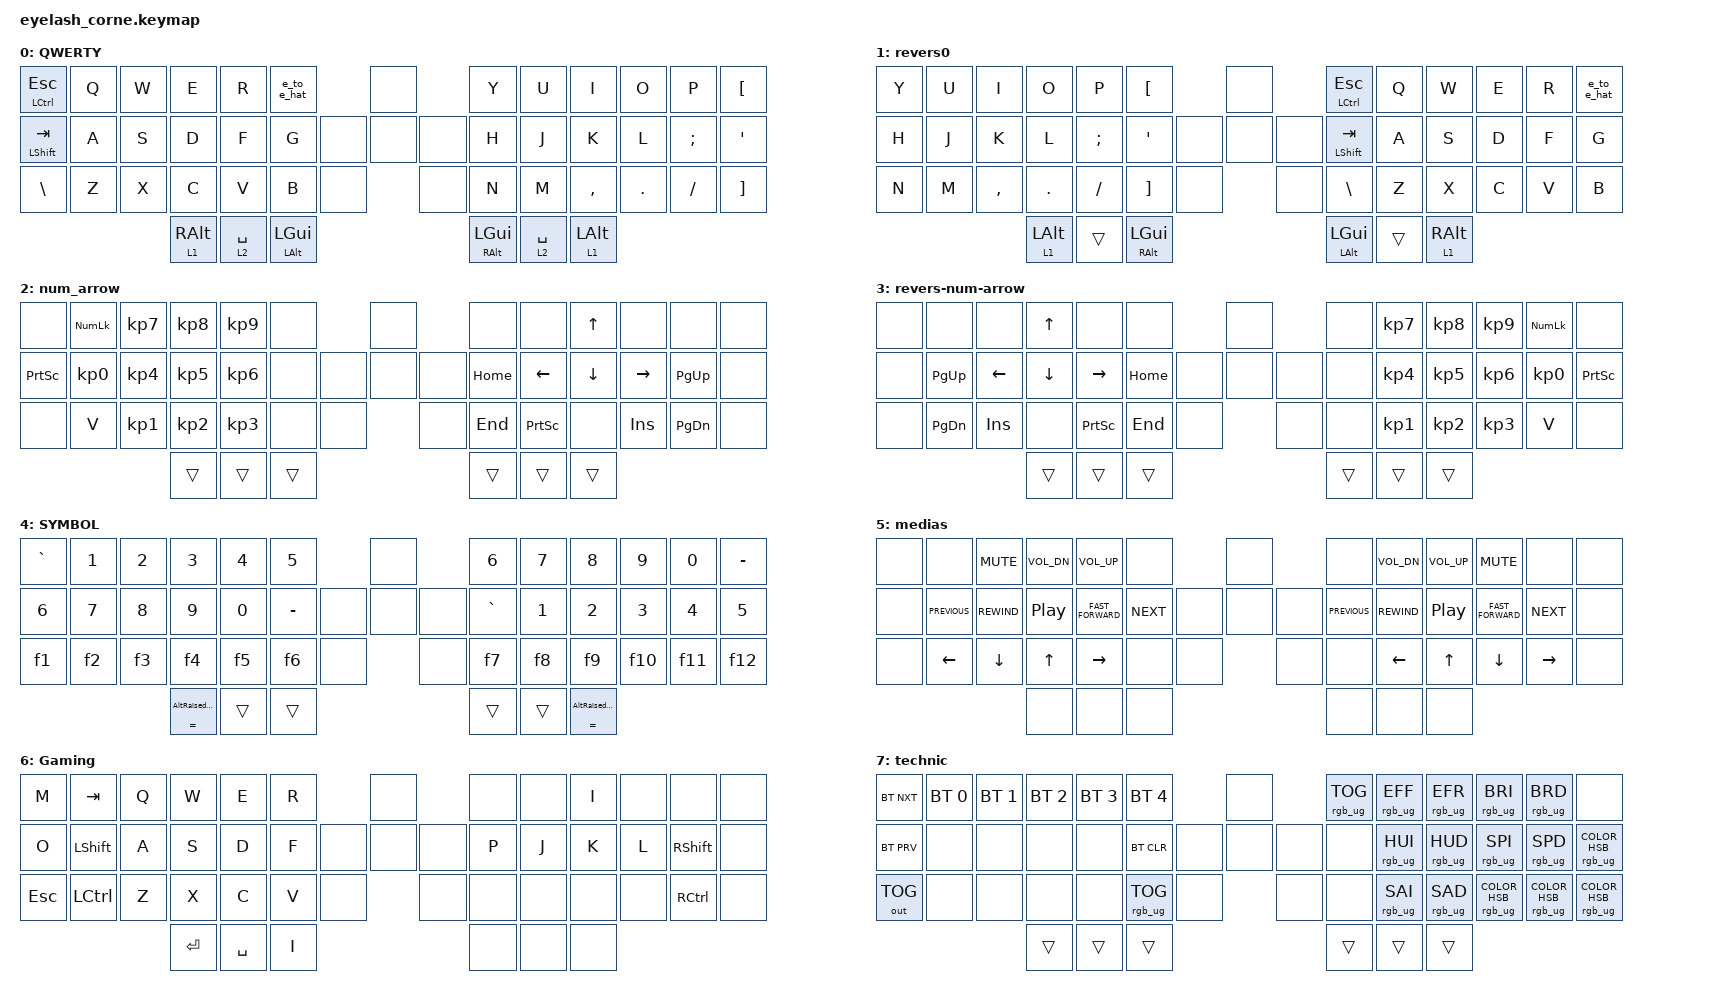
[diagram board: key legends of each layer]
#define ZMK_POINTING_DEFAULT_MOVE_VAL 1200  // 600
#define ZMK_POINTING_DEFAULT_SCRL_VAL 25   // 10

#include <input/processors.dtsi>
#include <zephyr/dt-bindings/input/input-event-codes.h>
#include <behaviors.dtsi>
#include <dt-bindings/zmk/bt.h>
#include <dt-bindings/zmk/keys.h>
#include <dt-bindings/zmk/outputs.h>
#include <dt-bindings/zmk/pointing.h>
#include <dt-bindings/zmk/rgb.h>

&mmv_input_listener { input-processors = <&zip_xy_scaler 2 1>; };

&msc_input_listener { input-processors = <&zip_scroll_scaler 2 1>; };

&msc {
    acceleration-exponent = <1>;      // 0
    time-to-max-speed-ms = <100>;       // 300
    delay-ms = <0>;                   // 0
};

&mmv {
    time-to-max-speed-ms = <500>;
    acceleration-exponent = <1>;
    trigger-period-ms = <16>;
};

&soft_off { hold-time-ms = <2000>; };

/ {
    behaviors {
        td0: td0 {
            compatible = "zmk,behavior-tap-dance";
            display-name = "Shift/Caps Lock Tap Dance";
            #binding-cells = <0>;
            bindings = <&kp LEFT_SHIFT>, <&kp CAPS>;

            tapping-term-ms = <400>;
        };

        ht0: ht0 {
            compatible = "zmk,behavior-hold-tap";
            label = "HT0";
            bindings = <&kp>, <&kp>;

            #binding-cells = <2>;
            flavor = "tap-preferred";
            tapping-term-ms = <5>;
        };

        AltRaisedLayer: AltRaisedLayer {
            compatible = "zmk,behavior-tap-dance";
            label = "ALTRAISEDLAYER";
            #binding-cells = <0>;
            bindings = <&sk RIGHT_ALT>, <&sk LEFT_ALT>;

            tapping-term-ms = <400>;
        };

        f4: f4 {
            compatible = "zmk,behavior-tap-dance";
            label = "F4";
            #binding-cells = <0>;
            tapping-term-ms = <300>;
            bindings = <&kp F4>, <&kp F10>;
        };

        f5: f5 {
            compatible = "zmk,behavior-tap-dance";
            label = "F5";
            #binding-cells = <0>;
            tapping-term-ms = <300>;
            bindings = <&kp F5>, <&kp F11>;
        };

        f6: f6 {
            compatible = "zmk,behavior-tap-dance";
            label = "F6";
            #binding-cells = <0>;
            tapping-term-ms = <300>;
            bindings = <&kp F6>, <&kp F12>;
        };

        f1: f1 {
            compatible = "zmk,behavior-tap-dance";
            label = "F1";
            #binding-cells = <0>;
            tapping-term-ms = <300>;
            bindings = <&kp F1>, <&kp F7>;
        };

        f2: f2 {
            compatible = "zmk,behavior-tap-dance";
            label = "F2";
            #binding-cells = <0>;
            tapping-term-ms = <300>;
            bindings = <&kp F2>, <&kp F8>;
        };

        f3: f3 {
            compatible = "zmk,behavior-tap-dance";
            label = "F3";
            #binding-cells = <0>;
            tapping-term-ms = <300>;
            bindings = <&kp F3>, <&kp F9>;
        };

        f7: f7 {
            compatible = "zmk,behavior-tap-dance";
            label = "F7";
            #binding-cells = <0>;
            tapping-term-ms = <300>;
            bindings = <&kp F7>, <&kp F1>;
        };

        f8: f8 {
            compatible = "zmk,behavior-tap-dance";
            label = "F8";
            #binding-cells = <0>;
            tapping-term-ms = <300>;
            bindings = <&kp F8>, <&kp F2>;
        };

        f9: f9 {
            compatible = "zmk,behavior-tap-dance";
            label = "F9";
            #binding-cells = <0>;
            tapping-term-ms = <300>;
            bindings = <&kp F9>, <&kp F3>;
        };

        f10: f10 {
            compatible = "zmk,behavior-tap-dance";
            label = "F10";
            #binding-cells = <0>;
            tapping-term-ms = <300>;
            bindings = <&kp F10>, <&kp F4>;
        };

        f11: f11 {
            compatible = "zmk,behavior-tap-dance";
            label = "F11";
            #binding-cells = <0>;
            tapping-term-ms = <300>;
            bindings = <&kp F11>, <&kp F5>;
        };

        f12: f12 {
            compatible = "zmk,behavior-tap-dance";
            label = "F12";
            #binding-cells = <0>;
            tapping-term-ms = <300>;
            bindings = <&kp F12>, <&kp F6>;
        };

        altandrevers: altandrevers {
            compatible = "zmk,behavior-hold-tap";
            label = "ALTANDREVERS";
            bindings = <&mo>, <&AltRaisedLayer>;

            #binding-cells = <2>;
            tapping-term-ms = <500>;
        };

        altraisedinverted: altraisedinverted {
            compatible = "zmk,behavior-tap-dance";
            label = "ALTRAISEDINVERTED";
            #binding-cells = <0>;
            bindings = <&sk LEFT_ALT>, <&sk RIGHT_ALT>;

            tapping-term-ms = <400>;
        };

        e_to_e_hat: e_to_e_hat {
            compatible = "zmk,behavior-tap-dance";
            label = "E_TO_E_HAT";
            #binding-cells = <0>;
            bindings = <&kp T>, <&kp NON_US_BACKSLASH>;

            tapping-term-ms = <200>;
        };

        Navigation: Navigation {
            compatible = "zmk,behavior-tap-dance";
            label = "NAVIGATION";
            #binding-cells = <0>;
            bindings = <&kp LG(LA(SPACE))>, <&kp LA(SPACE)>;

            tapping-term-ms = <300>;
        };

        revers_nav: revers_nav {
            compatible = "zmk,behavior-hold-tap";
            label = "REVERS_NAV";
            bindings = <&mo>, <&Navigation>;

            #binding-cells = <2>;
            flavor = "balanced";
            tapping-term-ms = <300>;
        };

        navrac: navrac {
            compatible = "zmk,behavior-mod-morph";
            label = "NAVRAC";
            bindings = <&trans>, <&trans>;

            #binding-cells = <0>;
            mods = <(MOD_LALT|MOD_LGUI)>;
            keep-mods = <(MOD_LALT|MOD_LGUI)>;
        };

        alt_sticky_layer: alt_sticky_layer {
            compatible = "zmk,behavior-hold-tap";
            label = "ALT_STICKY_LAYER";
            bindings = <&mo>, <&sk>;

            #binding-cells = <2>;
            flavor = "balanced";
            retro-tap;
            tapping-term-ms = <160>;
        };

        gui_sticky: gui_sticky {
            compatible = "zmk,behavior-hold-tap";
            label = "GUI_STICKY";
            bindings = <&kp>, <&sk>;

            #binding-cells = <2>;
            flavor = "balanced";
            retro-tap;
            tapping-term-ms = <160>;
        };

        raised_thumb_alt: raised_thumb_alt {
            compatible = "zmk,behavior-hold-tap";
            label = "RAISED_THUMB_ALT";
            bindings = <&kp>, <&AltRaisedLayer>;

            #binding-cells = <2>;
            tapping-term-ms = <200>;
        };
    };

    rgb_encoder: rgb_encoder {
        compatible = "zmk,behavior-sensor-rotate";
        #sensor-binding-cells = <0>;
        bindings = <&rgb_ug RGB_BRI>, <&rgb_ug RGB_BRD>;
    };

    scroll_encoder: scroll_encoder {
        compatible = "zmk,behavior-sensor-rotate";
        #sensor-binding-cells = <0>;
        bindings = <&msc SCRL_DOWN>, <&msc SCRL_UP>;

        tap-ms = <100>;
    };

    combos {
        compatible = "zmk,combos";

        softoff {
            bindings = <&soft_off>;
            key-positions = <1 15 29>;
        };

        BSpace1 {
            bindings = <&kp BACKSPACE>;
            key-positions = <16 15>;
        };

        BSpace2 {
            bindings = <&kp BACKSPACE>;
            key-positions = <24 25>;
        };

        Shift1 {
            bindings = <&td0>;
            key-positions = <16 17>;
        };

        Shift2 {
            bindings = <&td0>;
            key-positions = <23 24>;
        };

        Delete1 {
            bindings = <&kp DELETE>;
            key-positions = <14 15>;
        };

        Delete2 {
            bindings = <&kp DELETE>;
            key-positions = <25 26>;
        };

        Enter1 {
            bindings = <&kp ENTER>;
            key-positions = <23 24 25 26>;
        };

        Enter2 {
            bindings = <&kp KP_ENTER>;
            key-positions = <15 16 17 14>;
        };

        technic_layer {
            bindings = <&tog 7>;
            key-positions = <33 5 0 28>;
        };

        Alt1 {
            bindings = <&AltRaisedLayer>;
            key-positions = <23 26>;
        };

        Alt2 {
            bindings = <&AltRaisedLayer>;
            key-positions = <14 17>;
        };

        Media {
            bindings = <&tog 5>;
            key-positions = <5 44>;
        };

        technic2 {
            bindings = <&tog 7>;
            key-positions = <36 7 12 41>;
        };

        media2 {
            bindings = <&tog 5>;
            key-positions = <7 45>;
        };

        gaming {
            bindings = <&tog 6>;
            key-positions = <0 44>;
        };

        gaming2 {
            bindings = <&tog 6>;
            key-positions = <45 12>;
        };

        Layer_4_Left {
            bindings = <&mo 4>;
            key-positions = <43 44>;
        };

        Layer_4_Right {
            bindings = <&mo 4>;
            key-positions = <45 46>;
        };
    };

    macros {
        new_macro: new_macro {
            compatible = "zmk,behavior-macro";
            #binding-cells = <0>;
            bindings = <&none &kp LS(T) &kp Y &kp P &kp E &kp SPACE &kp S &kp O &kp M &kp E &kp T &kp H &kp I &kp N &kp G &kp DOT &kp DOT &kp DOT>;
            label = "NEW_MACRO";
        };
    };

    keymap {
        compatible = "zmk,keymap";

        default_layer {
            display-name = "QWERTY";
            bindings = <
&mt LEFT_CONTROL ESC  &kp Q  &kp W  &kp E                          &kp R        &e_to_e_hat                                    &none         &kp Y                           &kp U        &kp I                         &kp O    &kp P     &kp LBKT
&mt LEFT_SHIFT TAB    &kp A  &kp S  &kp D                          &kp F        &kp G                                   &none  &none  &none  &kp H                           &kp J        &kp K                         &kp L    &kp SEMI  &kp SQT
&kp BSLH              &kp Z  &kp X  &kp C                          &kp V        &kp B                          &none           &none         &kp N                           &kp M        &kp COMMA                     &kp DOT  &kp FSLH  &kp RIGHT_BRACKET
                                    &alt_sticky_layer 1 RIGHT_ALT  &lt 2 SPACE  &gui_sticky LEFT_ALT LEFT_GUI                                &gui_sticky RIGHT_ALT LEFT_GUI  &lt 2 SPACE  &alt_sticky_layer 1 LEFT_ALT
            >;
        };

        revers0 {
            bindings = <
&kp Y  &kp U  &kp I      &kp O                         &kp P     &kp LBKT                                   &none         &mt LCTRL ESC                  &kp Q   &kp W                          &kp E  &kp R  &e_to_e_hat
&kp H  &kp J  &kp K      &kp L                         &kp SEMI  &kp APOS                            &none  &none  &none  &mt LEFT_SHIFT TAB             &kp A   &kp S                          &kp D  &kp F  &kp G
&kp N  &kp M  &kp COMMA  &kp DOT                       &kp FSLH  &kp RBKT                   &none           &none         &kp BSLH                       &kp Z   &kp X                          &kp C  &kp V  &kp B
                         &alt_sticky_layer 1 LEFT_ALT  &trans    &gui_sticky RALT LEFT_GUI                                &gui_sticky LEFT_ALT LEFT_GUI  &trans  &alt_sticky_layer 1 RIGHT_ALT
            >;
        };

        num_arrow {
            bindings = <
&none            &kp KP_NUMLOCK   &kp KP_NUMBER_7  &kp KP_NUMBER_8  &kp KP_NUMBER_9  &none                   &none         &none     &none            &kp UP_ARROW    &none            &none          &none
&kp PRINTSCREEN  &kp KP_NUMBER_0  &kp KP_NUMBER_4  &kp KP_NUMBER_5  &kp KP_NUMBER_6  &none            &none  &none  &none  &kp HOME  &kp LEFT_ARROW   &kp DOWN_ARROW  &kp RIGHT_ARROW  &kp PAGE_UP    &none
&none            &kp V            &kp KP_NUMBER_1  &kp KP_NUMBER_2  &kp KP_NUMBER_3  &none   &none           &none         &kp END   &kp PRINTSCREEN  &none           &kp INSERT       &kp PAGE_DOWN  &none
                                                   &trans           &trans           &trans                                &trans    &trans           &trans
            >;
        };

        revers-num-arrow {
            bindings = <
&none  &none      &none     &kp UP    &none            &none                     &none         &none   &kp KP_NUMBER_7  &kp KP_NUMBER_8  &kp KP_NUMBER_9  &kp KP_NUMLOCK   &none
&none  &kp PG_UP  &kp LEFT  &kp DOWN  &kp RIGHT        &kp HOME           &none  &none  &none  &none   &kp KP_NUMBER_4  &kp KP_NUMBER_5  &kp KP_NUMBER_6  &kp KP_NUMBER_0  &kp PRINTSCREEN
&none  &kp PG_DN  &kp INS   &none     &kp PRINTSCREEN  &kp END   &none           &none         &none   &kp KP_NUMBER_1  &kp KP_NUMBER_2  &kp KP_NUMBER_3  &kp V            &none
                            &trans    &trans           &trans                                  &trans  &trans           &trans
            >;
        };

        raise_layer {
            display-name = "SYMBOL";
            bindings = <
&kp GRAVE  &kp N1  &kp N2  &kp N3                     &kp N4  &kp N5                     &none         &kp NUMBER_6  &kp N7  &kp N8                     &kp N9  &kp N0  &kp MINUS
&kp N6     &kp N7  &kp N8  &kp N9                     &kp N0  &kp MINUS           &none  &none  &none  &kp GRAVE     &kp N1  &kp N2                     &kp N3  &kp N4  &kp N5
&f1        &f2     &f3     &f4                        &f5     &f6        &none           &none         &f7           &f8     &f9                        &f10    &f11    &f12
                           &raised_thumb_alt EQUAL 0  &trans  &trans                                   &trans        &trans  &raised_thumb_alt EQUAL 0
            >;
        };

        medias {
            bindings = <
&none  &none           &kp C_MUTE    &kp C_VOL_DN      &kp C_VOL_UP        &none                       &none         &none           &kp C_VOL_DN  &kp C_VOL_UP      &kp C_MUTE          &none       &none
&none  &kp C_PREVIOUS  &kp C_REWIND  &kp C_PLAY_PAUSE  &kp C_FAST_FORWARD  &kp C_NEXT           &none  &none  &none  &kp C_PREVIOUS  &kp C_REWIND  &kp C_PLAY_PAUSE  &kp C_FAST_FORWARD  &kp C_NEXT  &none
&none  &kp LEFT        &kp DOWN      &kp UP            &kp RIGHT           &none       &none           &none         &none           &kp LEFT      &kp UP            &kp DOWN            &kp RIGHT   &none
                                     &none             &none               &none                                     &none           &none         &none
            >;
        };

        Gaming {
            bindings = <
&kp M       &kp TAB    &kp Q  &kp W      &kp E      &kp R                  &none         &none  &none  &kp I  &none  &none      &none
&kp O       &kp LSHFT  &kp A  &kp S      &kp D      &kp F           &none  &none  &none  &kp P  &kp J  &kp K  &kp L  &kp RSHFT  &none
&kp ESCAPE  &kp LCTRL  &kp Z  &kp X      &kp C      &kp V  &none           &none         &none  &none  &none  &none  &kp RCTRL  &none
                              &kp ENTER  &kp SPACE  &kp I                                &none  &none  &none
            >;
        };

        technic {
            bindings = <
&bt BT_NXT    &bt BT_SEL 0  &bt BT_SEL 1  &bt BT_SEL 2  &bt BT_SEL 3  &bt BT_SEL 4                     &none         &rgb_ug RGB_TOG  &rgb_ug RGB_EFF  &rgb_ug RGB_EFR  &rgb_ug RGB_BRI                 &rgb_ug RGB_BRD                    &none
&bt BT_PRV    &none         &none         &none         &none         &bt BT_CLR                &none  &none  &none  &none            &rgb_ug RGB_HUI  &rgb_ug RGB_HUD  &rgb_ug RGB_SPI                 &rgb_ug RGB_SPD                    &rgb_ug RGB_COLOR_HSB(182,100,50)
&out OUT_TOG  &none         &none         &none         &none         &rgb_ug RGB_TOG  &none           &none         &none            &rgb_ug RGB_SAI  &rgb_ug RGB_SAD  &rgb_ug RGB_COLOR_HSB(0,0,100)  &rgb_ug RGB_COLOR_HSB(281,100,50)  &rgb_ug RGB_COLOR_HSB(62,100,50)
                                          &trans        &trans        &trans                                         &trans           &trans           &trans
            >;
        };
    };

    conditional_layers {
        compatible = "zmk,conditional-layers";

        revers-num {
            if-layers = <2 1>;
            then-layer = <3>;
        };
    };
};
